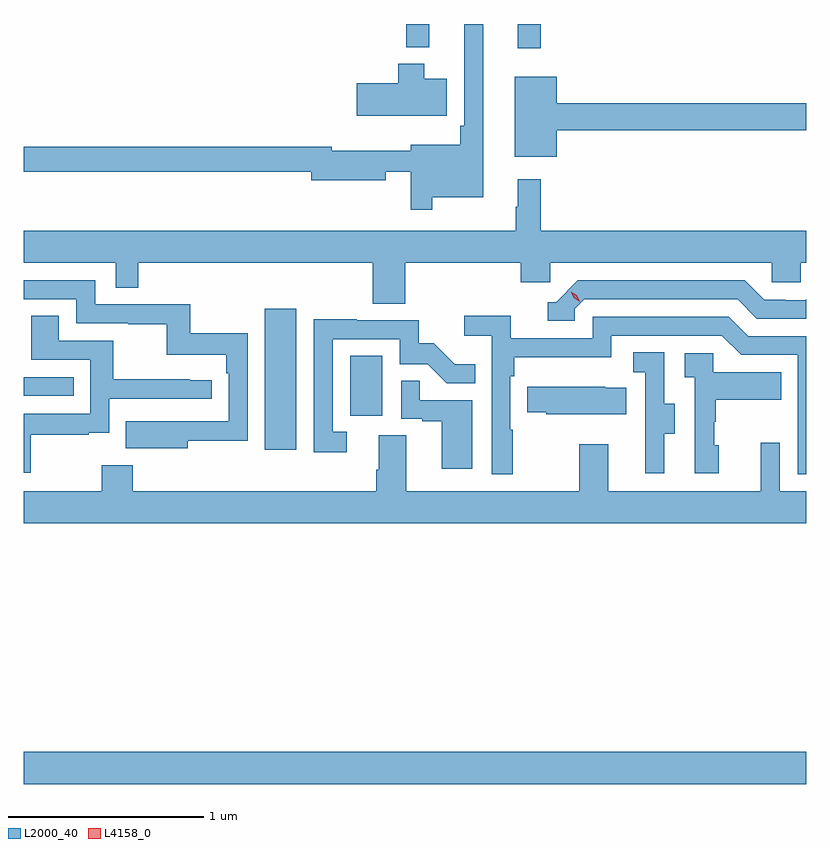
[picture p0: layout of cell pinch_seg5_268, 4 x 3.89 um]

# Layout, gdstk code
import gdstk
lib = gdstk.Library(unit=1e-6, precision=1e-09)
def R(c, l, rs):  # rectangles x0, y0, x1, y1
    for r in rs: c.add(gdstk.rectangle(r[:2], r[2:], *l))
def P(c, l, *ps):  # polygons
    for p in ps: c.add(gdstk.Polygon(p, *l))
L2000_40 = (2000, 40)
L4158_0 = (4158, 0)

pinch_seg5_268 = lib.new_cell('pinch_seg5_268')
R(pinch_seg5_268, L2000_40, [(911.57,895.388,915.57,895.552), (912.803,897.096,912.964,897.817), (913.238,897.27,913.402,897.577), (911.57,897.372,911.825,897.468), (914.096,899.151,914.213,899.274), (913.525,899.156,913.643,899.274)])
P(pinch_seg5_268, L2000_40, [(913.657,898.388),(913.918,898.388),(913.918,899.274),(913.821,899.274),(913.821,898.753),(913.801,898.753),(913.801,898.657),(913.547,898.657),(913.547,898.627),(913.144,898.627),(913.144,898.646),(911.57,898.646),(911.57,898.518),(913.04,898.518),(913.04,898.475),(913.42,898.475),(913.42,898.518),(913.548,898.518),(913.548,898.323),(913.657,898.323)],
  [(913.732,898.993),(913.618,898.993),(913.618,899.071),(913.484,899.071),(913.484,898.971),(913.272,898.971),(913.272,898.805),(913.732,898.805)],
  [(914.296,898.732),(915.57,898.732),(915.57,898.868),(914.296,898.868),(914.296,899.005),(914.081,899.005),(914.081,898.595),(914.296,898.595)],
  [(913.52,898.052),(914.111,898.052),(914.111,897.954),(914.262,897.954),(914.262,898.052),(915.393,898.052),(915.393,897.954),(915.543,897.954),(915.543,898.052),(915.57,898.052),(915.57,898.216),(914.213,898.216),(914.213,898.48),(914.096,898.48),(914.096,898.34),(914.085,898.34),(914.085,898.216),(911.57,898.216),(911.57,898.052),(912.039,898.052),(912.039,897.925),(912.155,897.925),(912.155,898.052),(913.355,898.052),(913.355,897.844),(913.52,897.844)],
  [(912.409,897.142),(912.714,897.142),(912.714,897.694),(912.421,897.694),(912.421,897.84),(911.934,897.84),(911.934,897.963),(911.57,897.963),(911.57,897.867),(911.838,897.867),(911.838,897.744),(912.103,897.744),(912.103,897.739),(912.3,897.739),(912.3,897.584),(912.605,897.584),(912.605,897.488),(912.618,897.488),(912.618,897.243),(912.305,897.243),(912.305,897.244),(912.091,897.244),(912.091,897.104),(912.409,897.104)],
  [(914.388,897.819),(914.436,897.867),(915.219,897.867),(915.318,897.768),(915.57,897.768),(915.57,897.866),(915.565,897.861),(915.462,897.861),(915.462,897.864),(915.355,897.864),(915.256,897.963),(914.403,897.963),(914.292,897.852),(914.249,897.852),(914.249,897.756),(914.388,897.756)],
  [(911.605,897.174),(911.903,897.174),(911.903,897.185),(912.006,897.185),(912.006,897.357),(912.532,897.357),(912.532,897.453),(912.419,897.453),(912.419,897.458),(912.026,897.458),(912.026,897.654),(911.749,897.654),(911.749,897.782),(911.609,897.782),(911.609,897.558),(911.91,897.558),(911.91,897.282),(911.57,897.282),(911.57,896.979),(911.605,896.979)],
  [(914.071,897.2),(914.058,897.2),(914.058,897.473),(914.078,897.473),(914.078,897.569),(914.574,897.569),(914.574,897.681),(915.138,897.681),(915.237,897.582),(915.528,897.582),(915.528,896.973),(915.57,896.973),(915.57,897.678),(915.274,897.678),(915.175,897.777),(914.478,897.777),(914.478,897.666),(914.06,897.666),(914.06,897.782),(913.821,897.782),(913.821,897.68),(913.962,897.68),(913.962,896.973),(914.071,896.973)],
  [(913.222,897.189),(913.149,897.189),(913.149,897.663),(913.491,897.663),(913.491,897.534),(913.635,897.534),(913.733,897.436),(913.877,897.436),(913.877,897.535),(913.773,897.535),(913.666,897.642),(913.59,897.642),(913.59,897.759),(913.271,897.759),(913.271,897.764),(913.053,897.764),(913.053,897.084),(913.222,897.084)],
  [(914.845,897.178),(914.899,897.178),(914.899,897.333),(914.844,897.333),(914.844,897.596),(914.685,897.596),(914.685,897.493),(914.748,897.493),(914.748,897.189),(914.747,897.189),(914.747,896.976),(914.845,896.976)],
  [(915.124,897.12),(915.099,897.12),(915.099,897.239),(915.109,897.239),(915.109,897.353),(915.443,897.353),(915.443,897.493),(915.096,897.493),(915.096,897.591),(914.949,897.591),(914.949,897.467),(915,897.467),(915,896.976),(915.124,896.976)],
  [(913.864,897.351),(913.595,897.351),(913.595,897.449),(913.5,897.449),(913.5,897.255),(913.607,897.255),(913.607,897.243),(913.706,897.243),(913.706,897),(913.864,897)],
  [(914.651,897.415),(914.543,897.415),(914.543,897.418),(914.143,897.418),(914.143,897.289),(914.241,897.289),(914.241,897.278),(914.651,897.278)],
  [(915.57,896.884),(915.435,896.884),(915.435,897.133),(915.338,897.133),(915.338,896.884),(914.557,896.884),(914.557,897.124),(914.41,897.124),(914.41,896.884),(913.525,896.884),(913.525,897.17),(913.385,897.17),(913.385,896.996),(913.373,896.996),(913.373,896.884),(912.128,896.884),(912.128,897.019),(911.968,897.019),(911.968,896.884),(911.57,896.884),(911.57,896.72),(915.57,896.72)])
P(pinch_seg5_268, L4158_0, [(914.412,897.853),(914.382,897.873),(914.366,897.906),(914.366,897.906),(914.367,897.906),(914.397,897.886),(914.412,897.854),(914.412,897.853)])

lib.write_gds('pinch_seg5_268.gds')
